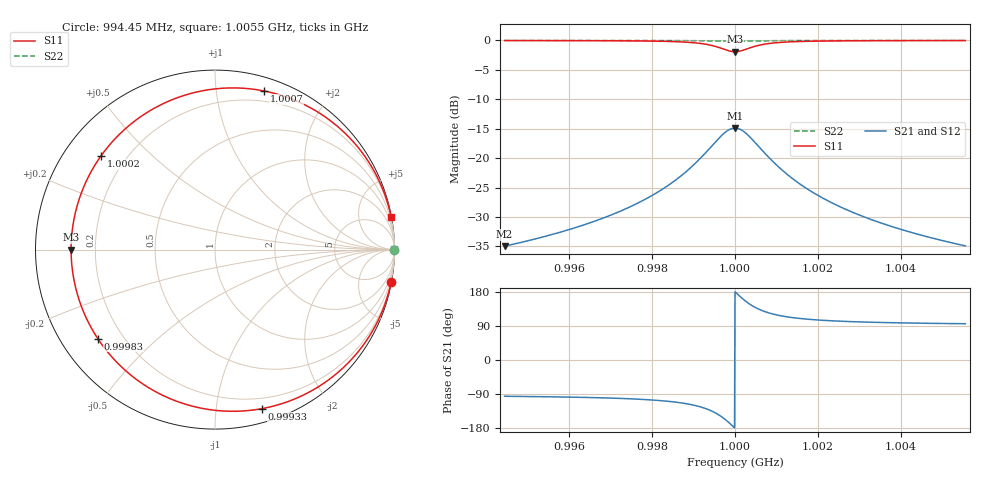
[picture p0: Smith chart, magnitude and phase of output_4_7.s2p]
! File generated for n1 = 4, n2 = 7
! b1 = 10.000000
! b2 = 0.100000
! Q0 = 10000.000000
! f0 = 1000000000.000000
! n = 1001
! rel_span = 10.000000
# Hz S RI R 50
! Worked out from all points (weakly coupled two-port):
!   1001 points, 994.45 MHz to 1.0055 GHz, reference 50 ohm
!   highest |S21| = -14.89 dB at 1 GHz (marker M1); lowest = -35.0 dB at 994.45 MHz (marker M2)
!   lowest |S11| = -1.9 dB at 1 GHz (marker M3), VSWR 9.09, Z = 5.5 + j0 ohm
!   |S11| at or under -10 dB: nowhere
!   |S22| runs from -0.2 to 0.0 dB; largest |S21 - S12| = 0
!   S11 on the Smith chart (normalised r, x): 994.45 MHz: 0, -11; 999.33 MHz: 0.11, -1.33; 999.83 MHz: 0.11, -0.33; 1.0002 GHz: 0.11, +0.36; 1.0007 GHz: 0.11, +1.35; 1.0055 GHz: 0, +11
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9.9445e8  0.9823 -0.1779  -0.00177 -0.0178  -0.00177 -0.0178  0.9998 -0.00178
9.963037e8  0.9604 -0.2641  -0.00396 -0.0264  -0.00396 -0.0264  0.9996 -0.00264
9.973582e8  0.924 -0.3621  -0.0076 -0.0362  -0.0076 -0.0362  0.9992 -0.00362
9.981574e8  0.8504 -0.4972  -0.015 -0.0497  -0.015 -0.0497  0.9985 -0.00497
9.988678e8  0.6512 -0.7119  -0.0349 -0.0712  -0.0349 -0.0712  0.9965 -0.00712
9.991231e8  0.485 -0.8141  -0.0515 -0.0814  -0.0515 -0.0814  0.9948 -0.00814
9.99334e8  0.2618 -0.8861  -0.0738 -0.0886  -0.0738 -0.0886  0.9926 -0.00886
9.996115e8  -0.2091 -0.8465  -0.1209 -0.0847  -0.1209 -0.0847  0.9879 -0.00847
9.997225e8  -0.4414 -0.7208  -0.1441 -0.0721  -0.1441 -0.0721  0.9856 -0.00721
9.998335e8  -0.653 -0.4959  -0.1653 -0.0496  -0.1653 -0.0496  0.9835 -0.00496
1e9  -0.8018 0  -0.1802 0  -0.1802 0  0.982 0
1.000089e9  -0.7568 0.2811  -0.1757 0.0281  -0.1757 0.0281  0.9824 0.00281
1.000178e9  -0.6345 0.523  -0.1634 0.0523  -0.1634 0.0523  0.9837 0.00523
1.000278e9  -0.4415 0.7207  -0.1442 0.0721  -0.1442 0.0721  0.9856 0.00721
1.000388e9  -0.2094 0.8464  -0.1209 0.0846  -0.1209 0.0846  0.9879 0.00846
1.000511e9  0.0239 0.8978  -0.0976 0.0898  -0.0976 0.0898  0.9902 0.00898
1.000677e9  0.2756 0.8834  -0.0724 0.0883  -0.0724 0.0883  0.9928 0.00883
1.000888e9  0.4936 0.81  -0.0506 0.081  -0.0506 0.081  0.9949 0.0081
1.001143e9  0.6561 0.7081  -0.0344 0.0708  -0.0344 0.0708  0.9966 0.00708
1.001854e9  0.8515 0.4955  -0.0148 0.0495  -0.0148 0.0495  0.9985 0.00495
1.003707e9  0.9604 0.2643  -0.00396 0.0264  -0.00396 0.0264  0.9996 0.00264
1.00555e9  0.9821 0.1789  -0.00179 0.0179  -0.00179 0.0179  0.9998 0.00179
